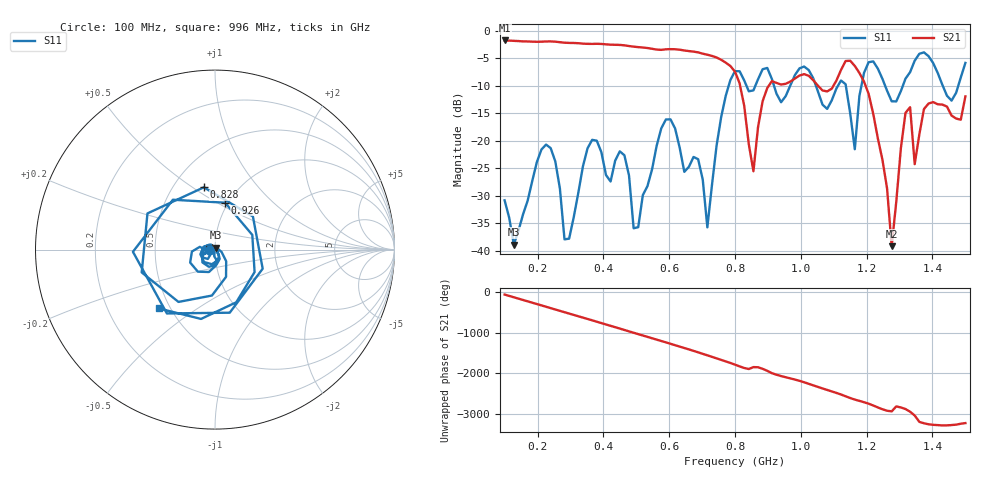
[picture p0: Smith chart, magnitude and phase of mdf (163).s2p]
! NanoVNA-App
! Date: 2025-09-25 15:39:41
! Start: 100MHz Stop: 1,5GHz Points: 101
! S-Parameter data: F S11 S21 S12 S22
# Hz S RI R 50
!  Frequency  S11_Real  S11_Imag  S21_Real  S21_Imag  S12_Real  S12_Imag  S22_Real  S22_Imag
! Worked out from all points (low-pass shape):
!   101 points, 100 MHz to 1.5 GHz, reference 50 ohm
!   highest |S21| = -1.81 dB at 100 MHz (marker M1); lowest = -39.2 dB at 1.276 GHz (marker M2)
!   |S21| within 3 dB of the highest: start of sweep to 739.3 MHz
!   lowest |S11| = -38.9 dB at 128 MHz (marker M3), VSWR 1.02, Z = 50.4 + j1.09 ohm
!   |S11| at or under -10 dB: start of sweep to 781 MHz; 1.046 GHz to 1.113 GHz (67.51 MHz wide, 6.25 % of centre); 1.256 GHz to 1.31 GHz (54.24 MHz wide, 4.23 % of centre) (the widest 3 of 7)
!   S12 and S22 are empty: the file has one direction only
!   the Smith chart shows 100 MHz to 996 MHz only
!   S11 on the Smith chart (normalised r, x): 100 MHz: 0.94, -0.01; 828 MHz: 0.70, +0.56; 926 MHz: 0.97, +0.55; 996 MHz: 0.43, -0.36
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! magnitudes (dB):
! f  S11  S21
! 100 MHz  -30.8  -1.8
! 128 MHz  -38.9  -1.9
! 212 MHz  -21.6  -2.0
! 282 MHz  -37.9  -2.2
! 338 MHz  -24.7  -2.4
! 464 MHz  -22.7  -2.7
! 506 MHz  -35.7  -3.0
! 576 MHz  -17.8  -3.5
! 716 MHz  -35.7  -4.4
! 800 MHz  -7.4  -7.5
! 828 MHz  -9.1  -13.7
! 856 MHz  -10.9  -25.5
! 926 MHz  -11.5  -9.5
! 996 MHz  -6.9  -8.2
! 1.038 GHz  -8.7  -9.0
! 1.136 GHz  -9.7  -5.5
! 1.164 GHz  -21.6  -6.4
! 1.192 GHz  -7.7  -9.3
! 1.276 GHz  -12.8  -39.2
! 1.318 GHz  -8.7  -14.9
! 1.346 GHz  -5.5  -24.3
! 1.5 GHz  -5.9  -12.0
